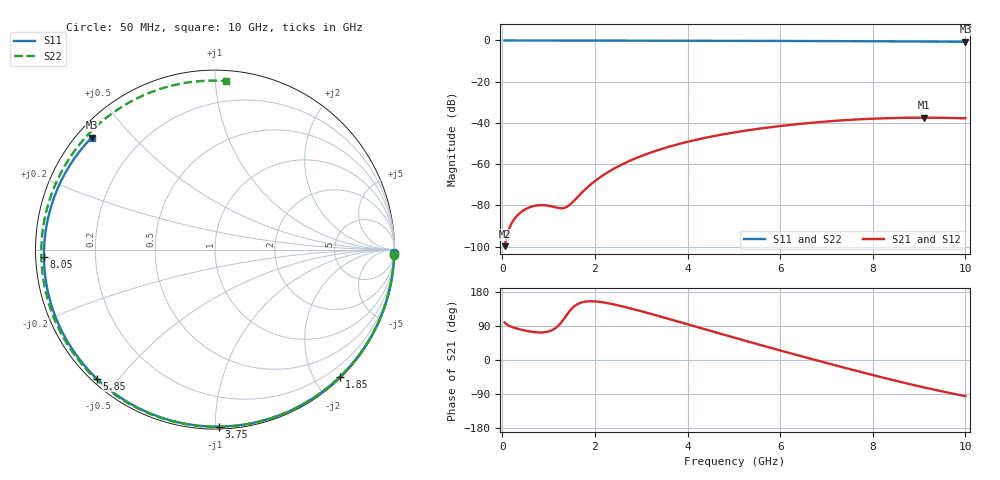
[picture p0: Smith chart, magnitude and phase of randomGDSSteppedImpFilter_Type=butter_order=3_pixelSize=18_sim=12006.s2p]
! freq	dB(S11)	phase(S11)	dB(S12)	phase(S12)
!  dB(S21)	phase(S21)	dB(S22)	phase(S22)
!S-par simulation data
#  GHz  S  DB  R 50
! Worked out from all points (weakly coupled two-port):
!   200 points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, 50 MHz to 10 GHz, reference 50 ohm
!   highest |S21| = -37.47 dB at 9.1 GHz (marker M1); lowest = -99.8 dB at 50 MHz (marker M2)
!   lowest |S11| = -0.6 dB at 10 GHz (marker M3), VSWR 26.93, Z = 2.13 + j19.3 ohm
!   |S11| at or under -10 dB: nowhere
!   |S22| runs from -0.5 to 0.0 dB; largest |S21 - S12| = 0
!   S11 on the Smith chart (normalised r, x): 50 MHz: 2, -94; 1.85 GHz: 0.02, -2.38; 3.75 GHz: 0.01, -1.02; 5.85 GHz: 0.02, -0.44; 8.05 GHz: 0.02, -0.02; 10 GHz: 0.04, +0.39
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0.05  -0.00 -1.2  -99.79 99.4  -99.79 99.4  -0.01 -1.6
0.4  -0.02 -10.0  -83.35 80.2  -83.35 80.2  -0.02 -13.5
0.7  -0.02 -17.5  -80.21 73.5  -80.21 73.5  -0.03 -23.6
1.05  -0.03 -26.2  -80.40 77.3  -80.40 77.3  -0.04 -35.2
1.45  -0.05 -36.0  -79.82 128.5  -79.82 128.5  -0.06 -48.2
1.75  -0.05 -43.2  -73.10 153.0  -73.10 153.0  -0.07 -57.7
1.85  -0.06 -45.6  -71.01 154.7  -71.01 154.7  -0.07 -60.8
2.15  -0.07 -52.7  -65.78 152.6  -65.78 152.6  -0.09 -69.9
2.5  -0.08 -60.9  -61.12 144.2  -61.12 144.2  -0.10 -80.3
2.9  -0.09 -70.0  -56.96 132.0  -56.96 132.0  -0.11 -91.8
3.4  -0.11 -81.2  -52.91 115.2  -52.91 115.2  -0.13 -105.6
3.75  -0.12 -88.8  -50.60 103.0  -50.60 103.0  -0.14 -115.0
4.4  -0.14 -102.7  -47.14 80.2  -47.14 80.2  -0.17 -131.7
5.05  -0.18 -116.2  -44.46 57.6  -44.46 57.6  -0.20 -147.7
5.85  -0.22 -132.5  -41.92 30.2  -41.92 30.2  -0.25 -167.1
6.7  -0.28 -149.6  -39.89 2.0  -39.89 2.0  -0.30 172.5
7.35  -0.34 -162.8  -38.74 -19.1  -38.74 -19.1  -0.35 156.7
8.05  -0.41 -177.5  -37.90 -41.2  -37.90 -41.2  -0.40 139.1
8.35  -0.44 176.1  -37.68 -50.4  -37.68 -50.4  -0.42 131.4
9.1  -0.53 159.4  -37.47 -72.2  -37.47 -72.2  -0.48 111.5
9.55  -0.59 148.8  -37.55 -84.2  -37.55 -84.2  -0.51 99.1
10  -0.65 137.8  -37.75 -95.4  -37.75 -95.4  -0.53 86.4
